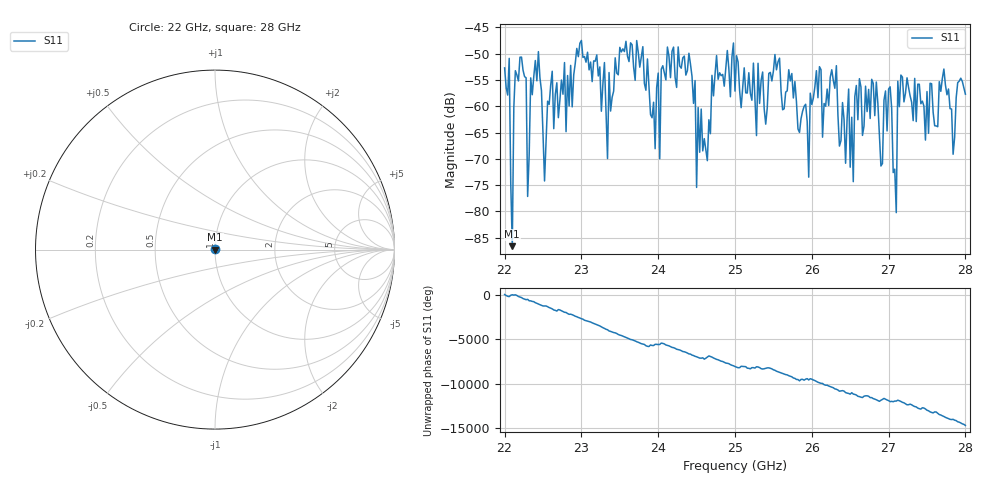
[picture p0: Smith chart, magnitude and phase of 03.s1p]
#  HZ  S  RI  R  50.00
! Rohde & Schwarz ZVA40 4Ports - Version 3.90 - 1145.1110k42 SN: 100403
! Date: 2023-10-04 11:47:57
! Measurement: S12
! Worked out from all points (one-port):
!   301 points, 22 GHz to 28 GHz, reference 50 ohm
!   lowest |S11| = -86.6 dB at 22.1 GHz (marker M1), VSWR 1.00, Z = 50 + j0.000265 ohm
!   |S11| at or under -10 dB: start of sweep to end of sweep
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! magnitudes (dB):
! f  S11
! 22 GHz  -52.7
! 22.06 GHz  -50.9
! 22.1 GHz  -86.6
! 22.2 GHz  -50.7
! 22.28 GHz  -54.6
! 22.3 GHz  -77.2
! 22.44 GHz  -49.6
! 22.52 GHz  -74.2
! 22.76 GHz  -57.7
! 23.3 GHz  -51.7
! 23.34 GHz  -70.0
! 23.5 GHz  -48.8
! 24 GHz  -53.7
! 24.02 GHz  -70.0
! 24.26 GHz  -48.7
! 24.48 GHz  -55.1
! 24.5 GHz  -75.4
! 24.76 GHz  -50.4
! 25 GHz  -57.1
! 25.76 GHz  -58.4
! 25.96 GHz  -73.5
! 26.32 GHz  -52.3
! 26.5 GHz  -71.6
! 27.02 GHz  -56.3
! 27.1 GHz  -80.2
! 27.12 GHz  -55.2
! 27.26 GHz  -56.4
! 28 GHz  -57.7
